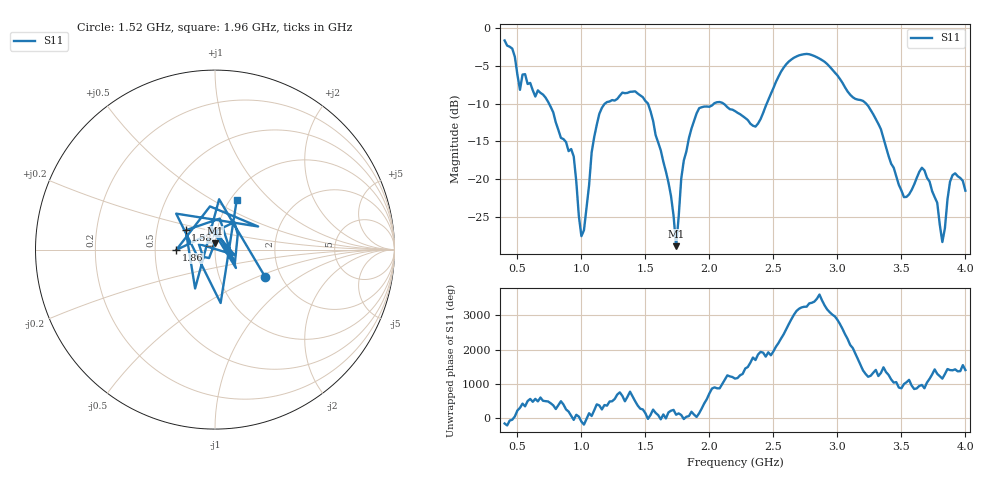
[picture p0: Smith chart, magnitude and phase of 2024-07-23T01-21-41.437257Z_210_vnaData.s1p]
!Created with skrf (http://scikit-rf.org).
# Hz S RI R 50.0
!freq ReS11 ImS11
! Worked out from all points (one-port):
!   181 points, 400 MHz to 4 GHz, reference 50 ohm
!   lowest |S11| = -28.8 dB at 1.74 GHz (marker M1), VSWR 1.07, Z = 49.7 + j3.59 ohm
!   |S11| at or under -10 dB: 746.8 MHz to 1.184 GHz (437.3 MHz wide, 45.3 % of centre); 1.52 GHz to 2.036 GHz (515.9 MHz wide, 29 % of centre); 3.224 GHz to end of sweep (the widest 3 of 4)
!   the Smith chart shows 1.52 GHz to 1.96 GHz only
!   S11 on the Smith chart (normalised r, x): 1.52 GHz: 1.66, -0.55; 1.58 GHz: 0.70, +0.16; 1.86 GHz: 0.64, -0.00; 1.96 GHz: 1.07, +0.65
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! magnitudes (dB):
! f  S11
! 400 MHz  -1.7
! 480 MHz  -3.8
! 520 MHz  -8.2
! 560 MHz  -6.1
! 860 MHz  -14.7
! 940 MHz  -17.0
! 1 GHz  -27.5
! 1.14 GHz  -11.4
! 1.3 GHz  -9.0
! 1.52 GHz  -10.0
! 1.58 GHz  -14.2
! 1.7 GHz  -22.2
! 1.74 GHz  -28.8
! 1.76 GHz  -24.9
! 1.8 GHz  -17.5
! 1.86 GHz  -13.3
! 1.96 GHz  -10.4
! 2.2 GHz  -11.0
! 2.36 GHz  -13.0
! 2.66 GHz  -3.9
! 3.1 GHz  -8.8
! 3.28 GHz  -11.4
! 3.56 GHz  -22.0
! 3.68 GHz  -18.8
! 3.78 GHz  -23.1
! 3.82 GHz  -28.3
! 3.9 GHz  -19.5
! 4 GHz  -21.5
